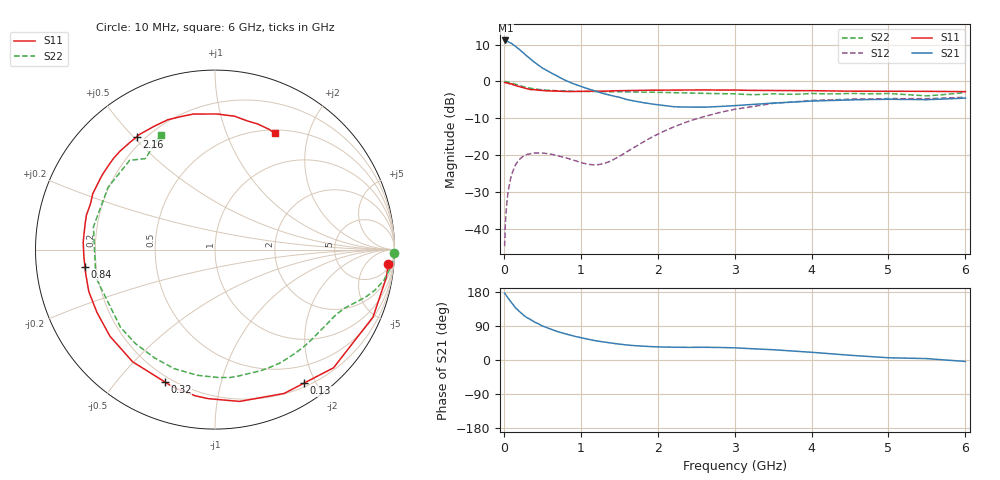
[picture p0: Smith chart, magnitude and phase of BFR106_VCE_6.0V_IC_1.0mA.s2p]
! Infineon Technologies  Discrete & RF Semiconductors
! BFR106
! VCE =  6.0 V,  IC =  1.0 mA
! Common Emitter S-Parameters:  Nov 2015
# GHz  S  MA  R  50
!  f  S11  S21  S12  S22
! GHz  MAG  ANG  MAG  ANG  MAG  ANG  MAG  ANG
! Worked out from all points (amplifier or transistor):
!   210 points, 10 MHz to 6 GHz, reference 50 ohm
!   highest |S21| = 11.1 dB at 20 MHz (marker M1)
!   |S21| within 3 dB of that: start of sweep to 233.1 MHz
!   unconditionally stable (mu >= 1): 857.5 MHz to 1.891 GHz; 3.015 GHz to end of sweep
!   at 185 MHz: K = 0.20, MSG = 15.3 dB, |S12| = -21.6 dB
!   at 1.52 GHz: K = 1.28, MAG = 4.6 dB, |S12| = -20.0 dB
!   at 6 GHz: K = 1.02, MAG = -0.9 dB, |S12| = -4.3 dB
!   S11 on the Smith chart (normalised r, x): 10 MHz: 8, -21; 130 MHz: 0.25, -1.84; 320 MHz: 0.17, -0.68; 840 MHz: 0.16, -0.07; 2.16 GHz: 0.17, +0.51; 6 GHz: 0.54, +1.50
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0.01  0.9692 -4.8  3.589 176.3  0.0059 89.8  0.9999 -1.2
0.02  0.9669 -9.4  3.59 174.1  0.0117 84.0  1 -2.3
0.055  0.9488 -25.2  3.451 163.3  0.0316 75.0  0.9827 -5.9
0.1  0.9328 -44.9  3.28 151.5  0.0546 65.4  0.9568 -10.2
0.13  0.8941 -56.3  3.091 143.7  0.066 58.2  0.9342 -12.6
0.15  0.8892 -64.3  3 138.1  0.074 54.7  0.92 -14.2
0.2  0.8568 -80.8  2.723 128.4  0.0877 46.8  0.8857 -17.0
0.26  0.822 -97.7  2.407 117.6  0.0981 38.5  0.8479 -19.8
0.32  0.7883 -110.8  2.123 109.8  0.1038 33.0  0.821 -21.8
0.4  0.7755 -126.3  1.815 100.0  0.1079 26.6  0.7924 -24.3
0.5  0.7587 -140.5  1.523 89.9  0.1077 21.6  0.7702 -27.3
0.68  0.7401 -159.7  1.202 76.4  0.0999 17.8  0.75 -33.2
0.84  0.731 -172.3  0.994 66.9  0.0905 19.3  0.7395 -38.6
1.02  0.735 175.5  0.843 57.8  0.079 26.9  0.7342 -45.2
1.34  0.7424 158.1  0.666 46.2  0.08 56.2  0.7276 -58.1
2.02  0.7621 129.7  0.48 34.5  0.1976 78.5  0.7119 -89.1
2.16  0.7653 124.8  0.461 34.0  0.2307 76.8  0.7069 -95.9
3.1  0.7611 97.1  0.478 31.0  0.4354 53.7  0.6704 -145.8
3.5  0.7556 89.1  0.51 27.1  0.5053 43.2  0.682 -166.8
4.1  0.7482 80.5  0.547 18.8  0.5573 28.1  0.6828 165.5
5.1  0.7377 70.1  0.573 5.5  0.586 9.8  0.6774 132.5
6  0.7287 62.8  0.596 -3.8  0.6126 -1.8  0.7076 115.3
